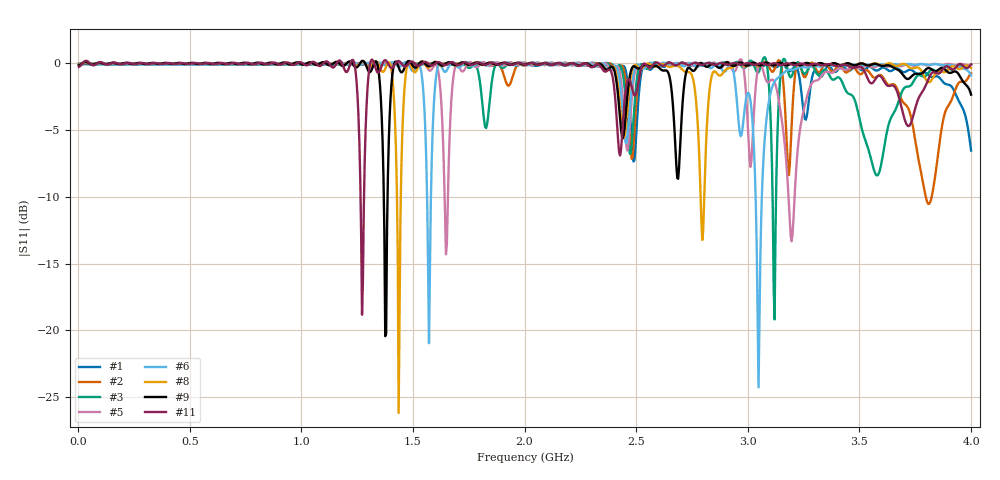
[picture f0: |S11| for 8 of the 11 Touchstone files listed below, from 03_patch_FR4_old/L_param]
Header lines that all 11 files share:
! TOUCHSTONE file generated by CST MICROWAVE STUDIO
! Project name: AppElm_antenne_patch_FR4.cst
! Header version: 2018
! Port assignment regex: !\s*Touchstone port\s*([0-9]+)\s*=\s*(CST MWS port|CST DS port)\s*([0-9]+|Zmin|Zmax)\s*\(\"(.*)\"\)(\s*mode\s*([0-9]+))?.*
! Touchstone port assignment:
! Touchstone port 1 = CST MWS port 1 ("")
# GHz S MA R 50
Fixed: W = 58.5, e = 0.035, h = 1.6, lambda = 0.190476, ls = 120, w0 = 1.6, w1 = 0.533333, ws = 120, y0 = 20, y1 = 23.8095
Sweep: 4 MHz to 4 GHz
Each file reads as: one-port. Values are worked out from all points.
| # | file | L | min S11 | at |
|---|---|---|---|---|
| 1 | AppElm_antenne_patch_FR4_1.s1p | 33.75 | -7.3 dB | 2.488 GHz |
| 2 | AppElm_antenne_patch_FR4_2.s1p | 36 | -10.5 dB | 3.812 GHz |
| 3 | AppElm_antenne_patch_FR4_3.s1p | 38.25 | -19.2 dB | 3.12 GHz |
| 4 | AppElm_antenne_patch_FR4_4.s1p | 40.5 | -14.6 dB | 3.064 GHz |
| 5 | AppElm_antenne_patch_FR4_5.s1p | 42.75 | -14.3 dB | 1.648 GHz |
| 6 | AppElm_antenne_patch_FR4_6.s1p | 45 | -24.3 dB | 3.048 GHz |
| 7 | AppElm_antenne_patch_FR4_7.s1p | 47.25 | -34.7 dB | 2.916 GHz |
| 8 | AppElm_antenne_patch_FR4_8.s1p | 49.5 | -26.2 dB | 1.436 GHz |
| 9 | AppElm_antenne_patch_FR4_9.s1p | 51.75 | -20.4 dB | 1.376 GHz |
| 10 | AppElm_antenne_patch_FR4_10.s1p | 54 | -21.4 dB | 1.324 GHz |
| 11 | AppElm_antenne_patch_FR4_11.s1p | 56.25 | -18.8 dB | 1.272 GHz |
